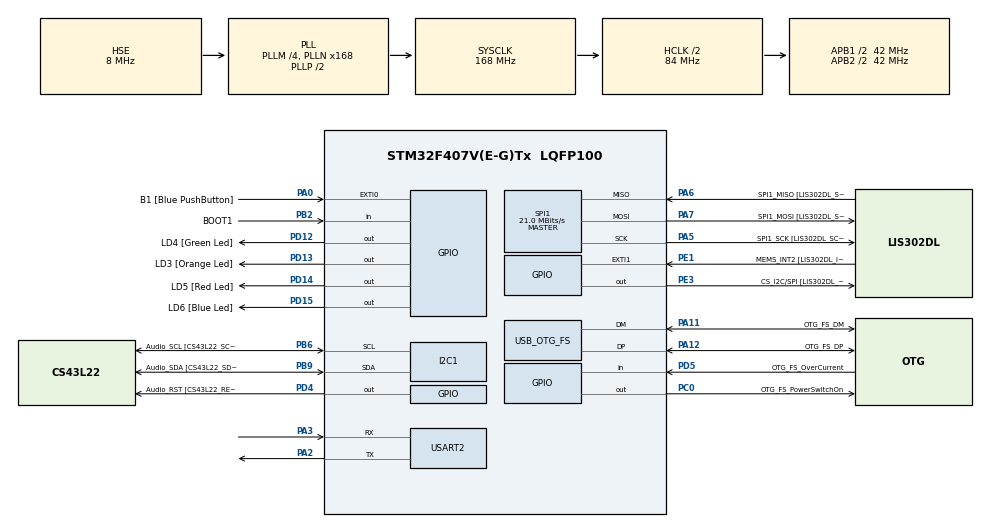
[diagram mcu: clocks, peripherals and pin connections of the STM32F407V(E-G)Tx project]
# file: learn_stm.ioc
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Mcu.Family=STM32F4
Mcu.Name=STM32F407V(E-G)Tx
Mcu.Package=LQFP100
NVIC.OTG_FS_IRQn=true\:0\:0\:false\:false\:true\:true\:true
NVIC.PriorityGroup=NVIC_PRIORITYGROUP_0
PA0-WKUP.GPIO_Label=B1 [Blue PushButton]
PA0-WKUP.GPIO_ModeDefaultEXTI=GPIO_MODE_EVT_RISING
PA0-WKUP.GPIO_PuPd=GPIO_NOPULL
PA0-WKUP.Signal=GPXTI0
PA10.GPIO_Label=OTG_FS_ID
PA10.GPIO_Mode=GPIO_MODE_AF_PP
PA10.GPIO_PuPd=GPIO_NOPULL
PA10.GPIO_Speed=GPIO_SPEED_FREQ_LOW
PA10.Signal=USB_OTG_FS_ID
PA11.GPIO_Label=OTG_FS_DM
PA11.GPIO_Mode=GPIO_MODE_AF_PP
PA11.GPIO_PuPd=GPIO_NOPULL
PA11.GPIO_Speed=GPIO_SPEED_FREQ_LOW
PA11.Mode=Device_Only
PA11.Signal=USB_OTG_FS_DM
PA12.GPIO_Label=OTG_FS_DP
PA12.GPIO_Mode=GPIO_MODE_AF_PP
PA12.GPIO_PuPd=GPIO_NOPULL
PA12.GPIO_Speed=GPIO_SPEED_FREQ_LOW
PA12.Mode=Device_Only
PA12.Signal=USB_OTG_FS_DP
PA13.GPIO_Label=SWDIO
PA13.Mode=Serial_Wire
PA13.Signal=SYS_JTMS-SWDIO
PA14.GPIO_Label=SWCLK
PA14.Mode=Serial_Wire
PA14.Signal=SYS_JTCK-SWCLK
PA2.Mode=Asynchronous
PA2.Signal=USART2_TX
PA3.Mode=Asynchronous
PA3.Signal=USART2_RX
PA4.GPIO_Label=I2S3_WS [CS43L22_LRCK]
PA4.GPIO_Mode=GPIO_MODE_AF_PP
PA4.GPIO_PuPd=GPIO_NOPULL
PA4.GPIO_Speed=GPIO_SPEED_FREQ_LOW
PA4.Signal=I2S3_WS
PA5.GPIO_Label=SPI1_SCK [LIS302DL_SCL/SPC]
PA5.GPIO_Mode=GPIO_MODE_AF_PP
PA5.GPIO_PuPd=GPIO_NOPULL
PA5.GPIO_Speed=GPIO_SPEED_FREQ_LOW
PA5.Mode=Full_Duplex_Master
PA5.Signal=SPI1_SCK
PA6.GPIO_Label=SPI1_MISO [LIS302DL_SDO]
PA6.GPIO_Mode=GPIO_MODE_AF_PP
PA6.GPIO_PuPd=GPIO_NOPULL
PA6.GPIO_Speed=GPIO_SPEED_FREQ_LOW
PA6.Mode=Full_Duplex_Master
PA6.Signal=SPI1_MISO
PA7.GPIO_Label=SPI1_MOSI [LIS302DL_SDA/SDI/SDO]
PA7.GPIO_Mode=GPIO_MODE_AF_PP
PA7.GPIO_PuPd=GPIO_NOPULL
PA7.GPIO_Speed=GPIO_SPEED_FREQ_LOW
PA7.Mode=Full_Duplex_Master
PA7.Signal=SPI1_MOSI
PA9.GPIO_Label=VBUS_FS
PA9.GPIO_Mode=GPIO_MODE_INPUT
PA9.GPIO_PuPd=GPIO_NOPULL
PA9.Signal=USB_OTG_FS_VBUS
PB10.GPIO_Label=CLK_IN [MP45DT02_CLK]
PB10.GPIO_Mode=GPIO_MODE_AF_PP
PB10.GPIO_PuPd=GPIO_NOPULL
PB10.GPIO_Speed=GPIO_SPEED_FREQ_LOW
PB10.Signal=I2S2_CK
PB2.GPIO_Label=BOOT1
PB2.GPIO_Mode=GPIO_MODE_INPUT
PB2.GPIO_PuPd=GPIO_NOPULL
PB2.Signal=GPIO_Input
PB3.GPIO_Label=SWO
PB3.Signal=SYS_JTDO-SWO
PB6.GPIO_Label=Audio_SCL [CS43L22_SCL]
PB6.GPIO_Mode=GPIO_MODE_AF_OD
PB6.GPIO_PuPd=GPIO_NOPULL
PB6.GPIO_Speed=GPIO_SPEED_FREQ_LOW
PB6.Mode=I2C
PB6.Signal=I2C1_SCL
PB9.GPIO_Label=Audio_SDA [CS43L22_SDA]
PB9.GPIO_Mode=GPIO_MODE_AF_OD
PB9.GPIO_PuPd=GPIO_NOPULL
PB9.GPIO_Speed=GPIO_SPEED_FREQ_LOW
PB9.Mode=I2C
PB9.Signal=I2C1_SDA
PC0.GPIO_Label=OTG_FS_PowerSwitchOn
PC0.GPIO_PuPd=GPIO_NOPULL
PC0.GPIO_Speed=GPIO_SPEED_FREQ_LOW
PC0.PinState=GPIO_PIN_SET
PC0.Signal=GPIO_Output
PC10.GPIO_Label=I2S3_SCK [CS43L22_SCLK]
PC10.GPIO_Mode=GPIO_MODE_AF_PP
PC10.GPIO_PuPd=GPIO_NOPULL
PC10.GPIO_Speed=GPIO_SPEED_FREQ_LOW
PC10.Signal=I2S3_CK
PC12.GPIO_Label=I2S3_SD [CS43L22_SDIN]
PC12.GPIO_Mode=GPIO_MODE_AF_PP
PC12.GPIO_PuPd=GPIO_NOPULL
PC12.GPIO_Speed=GPIO_SPEED_FREQ_LOW
PC12.Signal=I2S3_SD
PC14-OSC32_IN.GPIO_Label=PC14-OSC32_IN
PC14-OSC32_IN.Mode=LSE-External-Oscillator
PC14-OSC32_IN.Signal=RCC_OSC32_IN
PC15-OSC32_OUT.GPIO_Label=PC15-OSC32_OUT
PC15-OSC32_OUT.Mode=LSE-External-Oscillator
PC15-OSC32_OUT.Signal=RCC_OSC32_OUT
PC3.GPIO_Label=PDM_OUT [MP45DT02_DOUT]
PC3.GPIO_Mode=GPIO_MODE_AF_PP
PC3.GPIO_PuPd=GPIO_NOPULL
PC3.GPIO_Speed=GPIO_SPEED_FREQ_LOW
PC3.Signal=I2S2_SD
PC7.GPIO_Label=I2S3_MCK [CS43L22_MCLK]
PC7.GPIO_Mode=GPIO_MODE_AF_PP
PC7.GPIO_PuPd=GPIO_NOPULL
PC7.GPIO_Speed=GPIO_SPEED_FREQ_LOW
PC7.Signal=I2S3_MCK
PD12.GPIO_Label=LD4 [Green Led]
PD12.GPIO_PuPd=GPIO_NOPULL
PD12.GPIO_Speed=GPIO_SPEED_FREQ_LOW
PD12.Signal=GPIO_Output
PD13.GPIO_Label=LD3 [Orange Led]
PD13.GPIO_PuPd=GPIO_NOPULL
PD13.GPIO_Speed=GPIO_SPEED_FREQ_LOW
PD13.Signal=GPIO_Output
PD14.GPIO_Label=LD5 [Red Led]
PD14.GPIO_PuPd=GPIO_NOPULL
PD14.GPIO_Speed=GPIO_SPEED_FREQ_LOW
PD14.Signal=GPIO_Output
PD15.GPIO_Label=LD6 [Blue Led]
PD15.GPIO_PuPd=GPIO_NOPULL
PD15.GPIO_Speed=GPIO_SPEED_FREQ_LOW
PD15.Signal=GPIO_Output
PD4.GPIO_Label=Audio_RST [CS43L22_RESET]
PD4.GPIO_PuPd=GPIO_NOPULL
PD4.GPIO_Speed=GPIO_SPEED_FREQ_LOW
PD4.Signal=GPIO_Output
PD5.GPIO_Label=OTG_FS_OverCurrent
PD5.GPIO_Mode=GPIO_MODE_INPUT
PD5.GPIO_PuPd=GPIO_NOPULL
PD5.Signal=GPIO_Input
PE1.GPIO_Label=MEMS_INT2 [LIS302DL_INT2]
PE1.GPIO_ModeDefaultEXTI=GPIO_MODE_EVT_RISING
PE1.GPIO_PuPd=GPIO_NOPULL
PE1.Signal=GPXTI1
PE3.GPIO_Label=CS_I2C/SPI [LIS302DL_CS_I2C/SPI]
PE3.GPIO_PuPd=GPIO_NOPULL
PE3.GPIO_Speed=GPIO_SPEED_FREQ_LOW
PE3.Signal=GPIO_Output
PH0-OSC_IN.GPIO_Label=PH0-OSC_IN
PH0-OSC_IN.Mode=HSE-External-Oscillator
PH0-OSC_IN.Signal=RCC_OSC_IN
PH1-OSC_OUT.GPIO_Label=PH1-OSC_OUT
PH1-OSC_OUT.Mode=HSE-External-Oscillator
PH1-OSC_OUT.Signal=RCC_OSC_OUT
ProjectManager.HeapSize=0x2000
ProjectManager.StackSize=0x4000
ProjectManager.TargetToolchain=STM32CubeIDE
RCC.48MHZClocksFreq_Value=48000000
RCC.AHBCLKDivider=RCC_SYSCLK_DIV2
RCC.AHBFreq_Value=84000000
RCC.APB1CLKDivider=RCC_HCLK_DIV2
RCC.APB1Freq_Value=42000000
RCC.APB1TimFreq_Value=84000000
RCC.APB2CLKDivider=RCC_HCLK_DIV2
RCC.APB2Freq_Value=42000000
RCC.APB2TimFreq_Value=84000000
RCC.CortexFreq_Value=84000000
RCC.HCLKFreq_Value=84000000
RCC.HSE_VALUE=8000000
RCC.HSI_VALUE=16000000
RCC.PLLI2SN=50
RCC.PLLM=4
RCC.PLLN=168
RCC.PLLQ=7
RCC.SYSCLKFreq_VALUE=168000000
RCC.SYSCLKSource=RCC_SYSCLKSOURCE_PLLCLK
RCC.VCOOutputFreq_Value=336000000
SPI1.BaudRatePrescaler-Full_Duplex_Master=SPI_BAUDRATEPRESCALER_2
SPI1.CalculateBaudRate=21.0 MBits/s
SPI1.CalculateBaudRate-Full_Duplex_Master=42.0 MBits/s
SPI1.Direction=SPI_DIRECTION_2LINES
SPI1.Mode=SPI_MODE_MASTER
SPI1.Mode-Full_Duplex_Master=SPI_MODE_MASTER
SPI1.VirtualType=VM_MASTER
USART2.VirtualMode=VM_ASYNC
USB_DEVICE.CLASS_NAME_FS=CDC
USB_DEVICE.VirtualMode-CDC_FS=Cdc
USB_DEVICE.VirtualModeFS=Cdc_FS
USB_OTG_FS.VirtualMode=Device_Only
VP_USB_DEVICE_VS_USB_DEVICE_CDC_FS.Mode=CDC_FS
board=STM32F407G-DISC1

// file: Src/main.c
/* USER CODE BEGIN Header */
/**
  ******************************************************************************
  * @file           : main.c
  * @brief          : Main program body
  ******************************************************************************
  * @attention
  *
  * <h2><center>&copy; Copyright (c) 2020 STMicroelectronics.
  * All rights reserved.</center></h2>
  *
  * This software component is licensed by ST under Ultimate Liberty license
  * SLA0044, the "License"; You may not use this file except in compliance with
  * the License. You may obtain a copy of the License at:
  *                             www.st.com/SLA0044
  *
  ******************************************************************************
  */
/* USER CODE END Header */

#include "main.h"
#include "usb_device.h"

/* USER CODE BEGIN Includes */
#include "usbd_cdc_if.h"
/* USER CODE END Includes */

/* USER CODE BEGIN PTD */
typedef struct
{
    unsigned char message[2];
    unsigned short delay;
    unsigned char valid;
} STM_Reply;
/* USER CODE END PTD */

I2C_HandleTypeDef hi2c1;

SPI_HandleTypeDef hspi1;

UART_HandleTypeDef huart2;

/* USER CODE BEGIN PV */
STM_Reply parseSTM_Message(uint8_t* message, unsigned char* bytes);
/* USER CODE END PV */

void SystemClock_Config(void);
static void MX_GPIO_Init(void);
static void MX_I2C1_Init(void);
static void MX_SPI1_Init(void);
static void MX_USART2_UART_Init(void);

int main(void)
{

  /* MCU Configuration--------------------------------------------------------*/

  /* Reset of all peripherals, Initializes the Flash interface and the Systick. */
  HAL_Init();

  /* Configure the system clock */
  SystemClock_Config();

  /* Initialize all configured peripherals */
  MX_GPIO_Init();
  MX_I2C1_Init();
  MX_SPI1_Init();
  MX_USB_DEVICE_Init();
  MX_USART2_UART_Init();

  /* Infinite loop */
  while (1)
  {

  }
}

void SystemClock_Config(void)
{
  RCC_OscInitTypeDef RCC_OscInitStruct = {0};
  RCC_ClkInitTypeDef RCC_ClkInitStruct = {0};

  /** Configure the main internal regulator output voltage
  */
  __HAL_RCC_PWR_CLK_ENABLE();
  __HAL_PWR_VOLTAGESCALING_CONFIG(PWR_REGULATOR_VOLTAGE_SCALE1);
  /** Initializes the CPU, AHB and APB busses clocks
  */
  RCC_OscInitStruct.OscillatorType = RCC_OSCILLATORTYPE_HSE;
  RCC_OscInitStruct.HSEState = RCC_HSE_ON;
  RCC_OscInitStruct.PLL.PLLState = RCC_PLL_ON;
  RCC_OscInitStruct.PLL.PLLSource = RCC_PLLSOURCE_HSE;
  RCC_OscInitStruct.PLL.PLLM = 4;
  RCC_OscInitStruct.PLL.PLLN = 168;
  RCC_OscInitStruct.PLL.PLLP = RCC_PLLP_DIV2;
  RCC_OscInitStruct.PLL.PLLQ = 7;
  if (HAL_RCC_OscConfig(&RCC_OscInitStruct) != HAL_OK)
  {
    Error_Handler();
  }
  /** Initializes the CPU, AHB and APB busses clocks
  */
  RCC_ClkInitStruct.ClockType = RCC_CLOCKTYPE_HCLK|RCC_CLOCKTYPE_SYSCLK
                              |RCC_CLOCKTYPE_PCLK1|RCC_CLOCKTYPE_PCLK2;
  RCC_ClkInitStruct.SYSCLKSource = RCC_SYSCLKSOURCE_PLLCLK;
  RCC_ClkInitStruct.AHBCLKDivider = RCC_SYSCLK_DIV2;
  RCC_ClkInitStruct.APB1CLKDivider = RCC_HCLK_DIV2;
  RCC_ClkInitStruct.APB2CLKDivider = RCC_HCLK_DIV2;

  if (HAL_RCC_ClockConfig(&RCC_ClkInitStruct, FLASH_LATENCY_2) != HAL_OK)
  {
    Error_Handler();
  }
}

static void MX_I2C1_Init(void)
{

  hi2c1.Instance = I2C1;
  hi2c1.Init.ClockSpeed = 100000;
  hi2c1.Init.DutyCycle = I2C_DUTYCYCLE_2;
  hi2c1.Init.OwnAddress1 = 0;
  hi2c1.Init.AddressingMode = I2C_ADDRESSINGMODE_7BIT;
  hi2c1.Init.DualAddressMode = I2C_DUALADDRESS_DISABLE;
  hi2c1.Init.OwnAddress2 = 0;
  hi2c1.Init.GeneralCallMode = I2C_GENERALCALL_DISABLE;
  hi2c1.Init.NoStretchMode = I2C_NOSTRETCH_DISABLE;
  if (HAL_I2C_Init(&hi2c1) != HAL_OK)
  {
    Error_Handler();
  }

}

static void MX_SPI1_Init(void)
{

  /* SPI1 parameter configuration*/
  hspi1.Instance = SPI1;
  hspi1.Init.Mode = SPI_MODE_MASTER;
  hspi1.Init.Direction = SPI_DIRECTION_2LINES;
  hspi1.Init.DataSize = SPI_DATASIZE_8BIT;
  hspi1.Init.CLKPolarity = SPI_POLARITY_LOW;
  hspi1.Init.CLKPhase = SPI_PHASE_1EDGE;
  hspi1.Init.NSS = SPI_NSS_SOFT;
  hspi1.Init.BaudRatePrescaler = SPI_BAUDRATEPRESCALER_2;
  hspi1.Init.FirstBit = SPI_FIRSTBIT_MSB;
  hspi1.Init.TIMode = SPI_TIMODE_DISABLE;
  hspi1.Init.CRCCalculation = SPI_CRCCALCULATION_DISABLE;
  hspi1.Init.CRCPolynomial = 10;
  if (HAL_SPI_Init(&hspi1) != HAL_OK)
  {
    Error_Handler();
  }

}

static void MX_USART2_UART_Init(void)
{

  huart2.Instance = USART2;
  huart2.Init.BaudRate = 115200;
  huart2.Init.WordLength = UART_WORDLENGTH_8B;
  huart2.Init.StopBits = UART_STOPBITS_1;
  huart2.Init.Parity = UART_PARITY_NONE;
  huart2.Init.Mode = UART_MODE_TX_RX;
  huart2.Init.HwFlowCtl = UART_HWCONTROL_NONE;
  huart2.Init.OverSampling = UART_OVERSAMPLING_16;
  if (HAL_UART_Init(&huart2) != HAL_OK)
  {
    Error_Handler();
  }

}

static void MX_GPIO_Init(void)
{
  GPIO_InitTypeDef GPIO_InitStruct = {0};

  /* GPIO Ports Clock Enable */
  __HAL_RCC_GPIOE_CLK_ENABLE();
  __HAL_RCC_GPIOC_CLK_ENABLE();
  __HAL_RCC_GPIOH_CLK_ENABLE();
  __HAL_RCC_GPIOA_CLK_ENABLE();
  __HAL_RCC_GPIOB_CLK_ENABLE();
  __HAL_RCC_GPIOD_CLK_ENABLE();

  /*Configure GPIO pin Output Level */
  HAL_GPIO_WritePin(CS_I2C_SPI_GPIO_Port, CS_I2C_SPI_Pin, GPIO_PIN_RESET);

  /*Configure GPIO pin Output Level */
  HAL_GPIO_WritePin(OTG_FS_PowerSwitchOn_GPIO_Port, OTG_FS_PowerSwitchOn_Pin, GPIO_PIN_SET);

  /*Configure GPIO pin Output Level */
  HAL_GPIO_WritePin(GPIOD, LD4_Pin|LD3_Pin|LD5_Pin|LD6_Pin
                          |Audio_RST_Pin, GPIO_PIN_RESET);

  /*Configure GPIO pin : CS_I2C_SPI_Pin */
  GPIO_InitStruct.Pin = CS_I2C_SPI_Pin;
  GPIO_InitStruct.Mode = GPIO_MODE_OUTPUT_PP;
  GPIO_InitStruct.Pull = GPIO_NOPULL;
  GPIO_InitStruct.Speed = GPIO_SPEED_FREQ_LOW;
  HAL_GPIO_Init(CS_I2C_SPI_GPIO_Port, &GPIO_InitStruct);

  /*Configure GPIO pin : OTG_FS_PowerSwitchOn_Pin */
  GPIO_InitStruct.Pin = OTG_FS_PowerSwitchOn_Pin;
  GPIO_InitStruct.Mode = GPIO_MODE_OUTPUT_PP;
  GPIO_InitStruct.Pull = GPIO_NOPULL;
  GPIO_InitStruct.Speed = GPIO_SPEED_FREQ_LOW;
  HAL_GPIO_Init(OTG_FS_PowerSwitchOn_GPIO_Port, &GPIO_InitStruct);

  /*Configure GPIO pin : PDM_OUT_Pin */
  GPIO_InitStruct.Pin = PDM_OUT_Pin;
  GPIO_InitStruct.Mode = GPIO_MODE_AF_PP;
  GPIO_InitStruct.Pull = GPIO_NOPULL;
  GPIO_InitStruct.Speed = GPIO_SPEED_FREQ_LOW;
  GPIO_InitStruct.Alternate = GPIO_AF5_SPI2;
  HAL_GPIO_Init(PDM_OUT_GPIO_Port, &GPIO_InitStruct);

  /*Configure GPIO pin : B1_Pin */
  GPIO_InitStruct.Pin = B1_Pin;
  GPIO_InitStruct.Mode = GPIO_MODE_EVT_RISING;
  GPIO_InitStruct.Pull = GPIO_NOPULL;
  HAL_GPIO_Init(B1_GPIO_Port, &GPIO_InitStruct);

  /*Configure GPIO pin : I2S3_WS_Pin */
  GPIO_InitStruct.Pin = I2S3_WS_Pin;
  GPIO_InitStruct.Mode = GPIO_MODE_AF_PP;
  GPIO_InitStruct.Pull = GPIO_NOPULL;
  GPIO_InitStruct.Speed = GPIO_SPEED_FREQ_LOW;
  GPIO_InitStruct.Alternate = GPIO_AF6_SPI3;
  HAL_GPIO_Init(I2S3_WS_GPIO_Port, &GPIO_InitStruct);

  /*Configure GPIO pin : BOOT1_Pin */
  GPIO_InitStruct.Pin = BOOT1_Pin;
  GPIO_InitStruct.Mode = GPIO_MODE_INPUT;
  GPIO_InitStruct.Pull = GPIO_NOPULL;
  HAL_GPIO_Init(BOOT1_GPIO_Port, &GPIO_InitStruct);

  /*Configure GPIO pin : CLK_IN_Pin */
  GPIO_InitStruct.Pin = CLK_IN_Pin;
  GPIO_InitStruct.Mode = GPIO_MODE_AF_PP;
  GPIO_InitStruct.Pull = GPIO_NOPULL;
  GPIO_InitStruct.Speed = GPIO_SPEED_FREQ_LOW;
  GPIO_InitStruct.Alternate = GPIO_AF5_SPI2;
  HAL_GPIO_Init(CLK_IN_GPIO_Port, &GPIO_InitStruct);

  /*Configure GPIO pins : LD4_Pin LD3_Pin LD5_Pin LD6_Pin
                           Audio_RST_Pin */
  GPIO_InitStruct.Pin = LD4_Pin|LD3_Pin|LD5_Pin|LD6_Pin
                          |Audio_RST_Pin;
  GPIO_InitStruct.Mode = GPIO_MODE_OUTPUT_PP;
  GPIO_InitStruct.Pull = GPIO_NOPULL;
  GPIO_InitStruct.Speed = GPIO_SPEED_FREQ_LOW;
  HAL_GPIO_Init(GPIOD, &GPIO_InitStruct);

  /*Configure GPIO pins : I2S3_MCK_Pin I2S3_SCK_Pin I2S3_SD_Pin */
  GPIO_InitStruct.Pin = I2S3_MCK_Pin|I2S3_SCK_Pin|I2S3_SD_Pin;
  GPIO_InitStruct.Mode = GPIO_MODE_AF_PP;
  GPIO_InitStruct.Pull = GPIO_NOPULL;
  GPIO_InitStruct.Speed = GPIO_SPEED_FREQ_LOW;
  GPIO_InitStruct.Alternate = GPIO_AF6_SPI3;
  HAL_GPIO_Init(GPIOC, &GPIO_InitStruct);

  /*Configure GPIO pin : OTG_FS_OverCurrent_Pin */
  GPIO_InitStruct.Pin = OTG_FS_OverCurrent_Pin;
  GPIO_InitStruct.Mode = GPIO_MODE_INPUT;
  GPIO_InitStruct.Pull = GPIO_NOPULL;
  HAL_GPIO_Init(OTG_FS_OverCurrent_GPIO_Port, &GPIO_InitStruct);

  /*Configure GPIO pin : MEMS_INT2_Pin */
  GPIO_InitStruct.Pin = MEMS_INT2_Pin;
  GPIO_InitStruct.Mode = GPIO_MODE_EVT_RISING;
  GPIO_InitStruct.Pull = GPIO_NOPULL;
  HAL_GPIO_Init(MEMS_INT2_GPIO_Port, &GPIO_InitStruct);

}

/* USER CODE BEGIN 4 */
void CDC_ReceiveCallBack(uint8_t *buf, uint32_t len)
{
	char temp[10];
	STM_Reply replyData;
	if(buf[0] == 'r')
	{
		HAL_GPIO_TogglePin(GPIOD, GPIO_PIN_12);
	}
	else
	{
		HAL_GPIO_TogglePin(GPIOD, GPIO_PIN_14);
	}
	/*else if(temp == "orange")
	{
		HAL_GPIO_TogglePin(GPIOD, GPIO_PIN_13);
	}
	else if(temp == "red")
	{
		HAL_GPIO_TogglePin(GPIOD, GPIO_PIN_14);
	}
	else if(temp == "blue")
	{
		HAL_GPIO_TogglePin(GPIOD, GPIO_PIN_15);
	}*/

	replyData = parseSTM_Message(buf, &len);
	//replyData.message[0] = 'H';
	//replyData.message[1] = 'e';
	CDC_Transmit_FS(replyData.message, 2);
}

STM_Reply parseSTM_Message(uint8_t* message, unsigned char* bytes)
{
	static STM_Reply respData;

	if(message[0] == 'h')
	{
		respData.message[0] = 'H';
		respData.message[1] = 'e';
		respData.valid = '1';
		respData.delay = 8;
	}
	else if(message[0] == 'w')
	{
		respData.message[0] = 'W';
		respData.message[1] = 'o';
		respData.valid = '1';
		respData.delay = 8;
	}

	return (respData);
}

/* USER CODE END 4 */

void Error_Handler(void)
{
}

/************************ (C) COPYRIGHT STMicroelectronics *****END OF FILE****/
